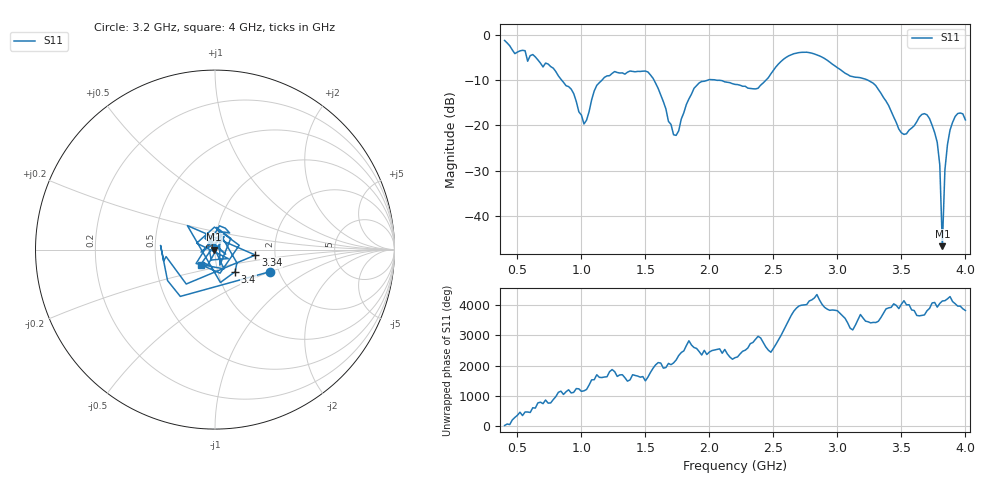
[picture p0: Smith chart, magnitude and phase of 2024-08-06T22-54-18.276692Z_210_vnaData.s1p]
!Created with skrf (http://scikit-rf.org).
# Hz S RI R 50.0
!freq ReS11 ImS11
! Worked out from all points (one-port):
!   181 points, 400 MHz to 4 GHz, reference 50 ohm
!   lowest |S11| = -46.7 dB at 3.82 GHz (marker M1), VSWR 1.01, Z = 49.5 + j0.00137 ohm
!   |S11| at or under -10 dB: 1.568 GHz to 1.986 GHz (418.1 MHz wide, 23.5 % of centre); 2.056 GHz to 2.442 GHz (385.1 MHz wide, 17.1 % of centre); 3.239 GHz to end of sweep (the widest 3 of 4)
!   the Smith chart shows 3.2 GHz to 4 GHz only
!   S11 on the Smith chart (normalised r, x): 3.2 GHz: 1.80, -0.50; 3.34 GHz: 1.58, -0.10; 3.4 GHz: 1.21, -0.31; 4 GHz: 0.84, -0.15
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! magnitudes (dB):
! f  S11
! 400 MHz  -1.2
! 860 MHz  -10.5
! 940 MHz  -13.0
! 1.02 GHz  -19.7
! 1.12 GHz  -11.1
! 1.3 GHz  -8.4
! 1.52 GHz  -8.2
! 1.6 GHz  -11.8
! 1.72 GHz  -22.1
! 1.76 GHz  -21.2
! 1.92 GHz  -10.6
! 2.2 GHz  -10.9
! 2.38 GHz  -11.8
! 2.66 GHz  -4.1
! 3.1 GHz  -9.1
! 3.2 GHz  -9.6
! 3.34 GHz  -12.9
! 3.4 GHz  -15.6
! 3.5 GHz  -21.6
! 3.56 GHz  -21.0
! 3.68 GHz  -17.4
! 3.76 GHz  -21.6
! 3.8 GHz  -28.8
! 3.82 GHz  -46.7
! 3.84 GHz  -29.9
! 3.88 GHz  -21.0
! 3.94 GHz  -17.4
! 4 GHz  -18.8
